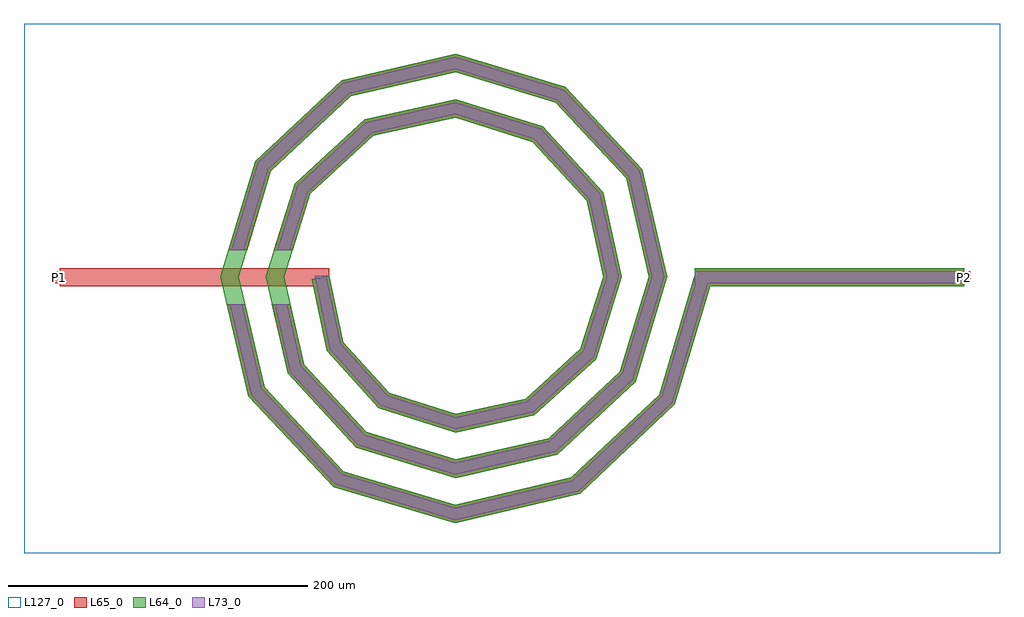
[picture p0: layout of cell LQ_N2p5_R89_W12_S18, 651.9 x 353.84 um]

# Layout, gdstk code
import gdstk
lib = gdstk.Library(unit=1e-6, precision=1e-09)
def R(c, l, rs):  # rectangles x0, y0, x1, y1
    for r in rs: c.add(gdstk.rectangle(r[:2], r[2:], *l))
def P(c, l, *ps):  # polygons
    for p in ps: c.add(gdstk.Polygon(p, *l))
L64_0 = (64, 0)
L65_0 = (65, 0)
L73_0 = (73, 0)
L127_0 = (127, 0)

lq_n2p5_r89_w12_s18 = lib.new_cell('LQ_N2p5_R89_W12_S18')
R(lq_n2p5_r89_w12_s18, L64_0, [(159.883,-6,339.883,6)])
P(lq_n2p5_r89_w12_s18, L64_0, [(-74.62,-43.447),(-44.17,-77.121),(0.3,-91.403),(47.219,-81.201),(83.679,-47.983),(98.988,0.278),(87.78,50.994),(51.792,90.238),(0.26,106.573),(-54.771,94.358),(-96.799,55.6),(-114.159,0.243),(-100.935,-58.55),(-59.406,-103.361),(0.229,-121.745),(62.331,-107.511),(109.924,-63.21),(129.33,0.216),(114.087,66.113),(67.013,116.487),(0.205,136.916),(-69.897,120.662),(-123.051,70.815),(-144.502,0.194),(-127.237,-73.681),(-74.617,-129.616),(0.185,-152.088),(77.466,-133.811),(136.181,-78.417),(160.135,1.718),(171.632,-1.718),(146.757,-84.937),(83.36,-144.748),(0.185,-164.506),(-81.152,-140.183),(-138.182,-79.559),(-156.92,0.194),(-133.608,77.367),(-75.757,131.617),(0.205,149.334),(73.583,127.033),(125.053,71.954),(141.747,0.216),(120.457,-69.8),(68.15,-118.489),(0.229,-134.161),(-66.018,-113.88),(-111.926,-64.345),(-126.574,0.243),(-107.302,62.238),(-60.538,105.363),(0.26,118.987),(58.459,100.723),(98.802,56.729),(111.401,0.278),(94.143,-54.683),(52.918,-92.242),(0.3,-103.814),(-50.909,-87.561),(-85.683,-49.104),(-95.89,-1.252),(-84.154,1.252)])
R(lq_n2p5_r89_w12_s18, L65_0, [(-264.022,-6,-84.022,6), (159.883,-6,339.883,6), (-268.022,-4,-260.022,4), (335.883,-4,343.883,4)])
P(lq_n2p5_r89_w12_s18, L65_0, [(-127.237,-73.681),(-74.617,-129.616),(0.185,-152.088),(77.466,-133.811),(136.181,-78.417),(160.135,1.718),(171.632,-1.718),(146.757,-84.937),(83.36,-144.748),(0.185,-164.506),(-81.152,-140.183),(-138.182,-79.559),(-152.645,-18),(-140.319,-18)],
  [(-100.935,-58.55),(-59.406,-103.361),(0.229,-121.745),(62.331,-107.512),(109.924,-63.21),(129.33,0.216),(114.087,66.113),(67.013,116.487),(0.205,136.916),(-69.897,120.662),(-123.051,70.815),(-139.006,18),(-151.541,18),(-133.608,77.367),(-75.757,131.617),(0.205,149.334),(73.583,127.033),(125.053,71.954),(141.747,0.216),(120.457,-69.8),(68.15,-118.489),(0.229,-134.161),(-66.018,-113.88),(-111.926,-64.345),(-122.437,-18),(-110.132,-18)],
  [(-44.17,-77.121),(0.3,-91.403),(47.219,-81.201),(83.679,-47.983),(98.988,0.278),(87.78,50.994),(51.792,90.238),(0.26,106.573),(-54.771,94.358),(-96.799,55.6),(-108.488,18),(-121.054,18),(-107.302,62.238),(-60.538,105.363),(0.26,118.987),(58.459,100.723),(98.802,56.729),(111.401,0.278),(94.143,-54.683),(52.918,-92.242),(0.3,-103.814),(-50.909,-87.561),(-85.683,-49.104),(-95.89,-1.252),(-84.154,1.252),(-74.62,-43.447)])
R(lq_n2p5_r89_w12_s18, L73_0, [(159.883,-4,339.883,4)])
P(lq_n2p5_r89_w12_s18, L73_0, [(-129.061,-74.661),(-75.706,-131.377),(0.123,-154.158),(78.448,-135.634),(137.944,-79.504),(162.051,1.146),(169.716,-1.146),(144.994,-83.851),(82.378,-142.925),(0.123,-162.437),(-80.063,-138.422),(-136.358,-78.579),(-150.591,-18),(-142.373,-18)],
  [(-102.767,-59.516),(-60.508,-105.114),(0.153,-123.814),(63.301,-109.341),(111.679,-64.308),(131.4,0.144),(115.915,67.087),(68.108,118.245),(0.137,138.986),(-70.873,122.488),(-124.811,71.907),(-141.095,18),(-149.452,18),(-131.849,76.275),(-74.78,129.792),(0.137,147.264),(72.488,125.275),(123.225,70.981),(139.678,0.144),(118.701,-68.702),(67.18,-116.659),(0.153,-132.091),(-64.916,-112.127),(-110.094,-63.379),(-120.386,-18),(-112.183,-18)],
  [(-45.294,-78.861),(0.2,-93.471),(48.169,-83.041),(85.423,-49.099),(101.057,0.186),(89.617,51.95),(52.904,91.986),(0.173,108.642),(-55.732,96.192),(-98.55,56.706),(-110.582,18),(-118.96,18),(-105.552,61.132),(-59.577,103.529),(0.173,116.918),(57.348,98.976),(96.965,55.773),(109.332,0.186),(92.399,-53.566),(51.968,-90.401),(0.2,-101.745),(-49.786,-85.821),(-83.839,-48.161),(-93.934,0.834),(-86.11,0.834),(-76.464,-44.39)])
R(lq_n2p5_r89_w12_s18, L127_0, [(-288.022,-184.506,363.883,169.334)])
lq_n2p5_r89_w12_s18.add(gdstk.Label('P2', (339.883,0), layer=65, texttype=0))
lq_n2p5_r89_w12_s18.add(gdstk.Label('P1', (-264.022,0), layer=65, texttype=0))
lq_n2p5_r89_w12_s18.add(gdstk.Label('P2', (343.883,0), layer=145, texttype=0))
lq_n2p5_r89_w12_s18.add(gdstk.Label('P1', (-268.022,0), layer=145, texttype=0))

lib.write_gds('LQ_N2p5_R89_W12_S18.gds')
